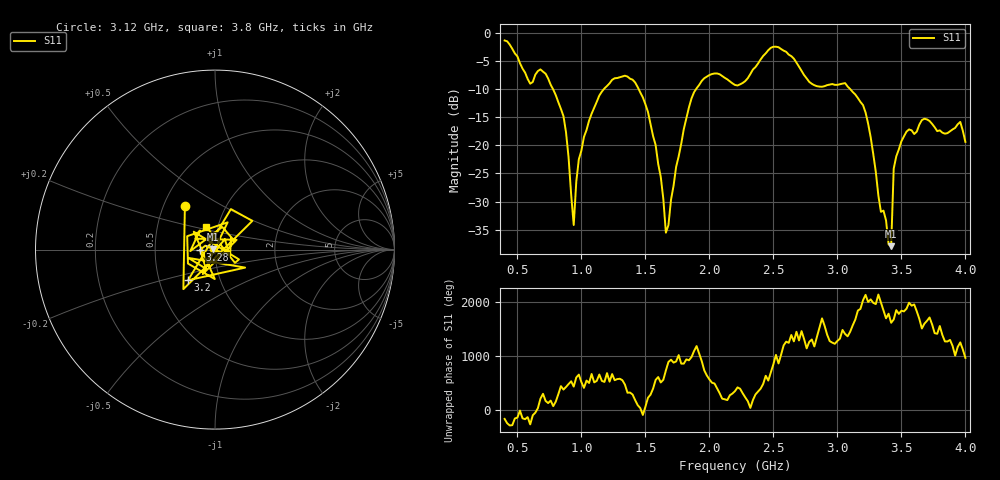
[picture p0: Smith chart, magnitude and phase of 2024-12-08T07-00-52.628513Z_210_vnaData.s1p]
!Created with skrf (http://scikit-rf.org).
# Hz S RI R 50.0
!freq ReS11 ImS11
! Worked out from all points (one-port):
!   181 points, 400 MHz to 4 GHz, reference 50 ohm
!   lowest |S11| = -37.9 dB at 3.42 GHz (marker M1), VSWR 1.03, Z = 48.8 + j0.193 ohm
!   |S11| at or under -10 dB: 777.4 MHz to 1.177 GHz (399.4 MHz wide, 40.9 % of centre); 1.447 GHz to 1.897 GHz (450.3 MHz wide, 26.9 % of centre); 3.099 GHz to end of sweep
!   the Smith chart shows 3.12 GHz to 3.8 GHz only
!   S11 on the Smith chart (normalised r, x): 3.12 GHz: 0.64, +0.34; 3.2 GHz: 0.70, -0.25; 3.28 GHz: 0.85, -0.00; 3.8 GHz: 0.88, +0.23
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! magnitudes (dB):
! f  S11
! 400 MHz  -1.4
! 600 MHz  -9.1
! 720 MHz  -7.3
! 860 MHz  -14.8
! 940 MHz  -34.2
! 980 MHz  -22.5
! 1.02 GHz  -18.5
! 1.3 GHz  -7.9
! 1.52 GHz  -14.1
! 1.62 GHz  -25.6
! 1.66 GHz  -35.5
! 1.76 GHz  -22.0
! 1.86 GHz  -11.7
! 1.94 GHz  -8.6
! 2.2 GHz  -9.3
! 2.48 GHz  -2.7
! 2.66 GHz  -4.6
! 3.1 GHz  -10.0
! 3.12 GHz  -10.5
! 3.2 GHz  -12.9
! 3.28 GHz  -21.6
! 3.34 GHz  -31.8
! 3.42 GHz  -37.9
! 3.44 GHz  -24.1
! 3.56 GHz  -17.2
! 3.8 GHz  -17.4
! 3.96 GHz  -15.9
! 4 GHz  -19.4
